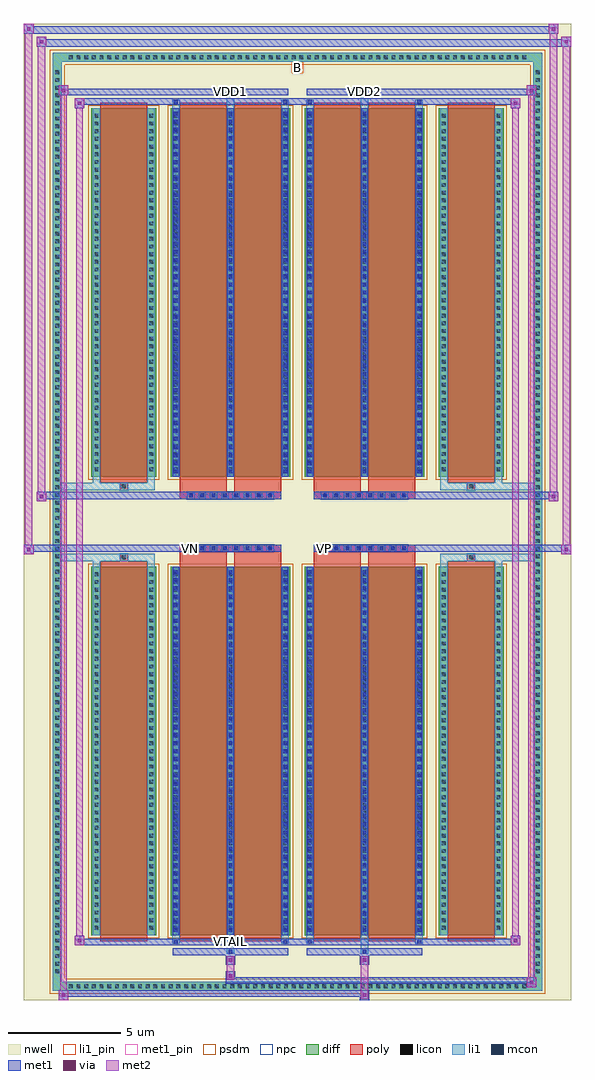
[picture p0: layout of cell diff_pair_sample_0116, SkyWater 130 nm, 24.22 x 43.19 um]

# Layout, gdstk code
import gdstk
lib = gdstk.Library(unit=1e-6, precision=5e-09)
def R(c, l, rs):  # rectangles x0, y0, x1, y1
    for r in rs: c.add(gdstk.rectangle(r[:2], r[2:], *l))
def A(c, l, x, y, w, h, nx, ny, dx, dy):  # array of equal rectangles
    R(c, l, [(x+i*dx, y+j*dy, x+i*dx+w, y+j*dy+h) for i in range(nx) for j in range(ny)])
def P(c, l, *ps):  # polygons
    for p in ps: c.add(gdstk.Polygon(p, *l))
nwell = (64, 20)
diff = (65, 20)
poly = (66, 20)
licon = (66, 44)
li1_pin = (67, 16)
li1 = (67, 20)
mcon = (67, 44)
met1_pin = (68, 16)
met1 = (68, 20)
via = (68, 44)
met2 = (69, 20)
psdm = (94, 20)
npc = (95, 20)

diff_pair_sample_0116 = lib.new_cell('diff_pair_sample_0116')
R(diff_pair_sample_0116, nwell, [(-12.11,-21.16,12.11,22.03), (-9.43,-19.35,-0.01,-0.805), (0.01,-19.35,9.43,-0.805), (-9.43,0.805,-0.01,19.35), (0.01,0.805,9.43,19.35)])
A(diff_pair_sample_0116, diff, -10.235, -20.76, 0.41, 0.41, 60, 2, 0.34, 41.11)
A(diff_pair_sample_0116, diff, -10.84, -20.095, 0.41, 0.41, 1, 118, 0, 0.34)
A(diff_pair_sample_0116, diff, 10.43, -20.095, 0.41, 0.41, 1, 118, 0, 0.34)
R(diff_pair_sample_0116, diff, [(-10.235,-20.76,10.235,-20.35), (-10.84,-20.095,-10.43,20.095), (10.43,-20.095,10.84,20.095), (-9.12,-18.305,-6.25,-1.985), (-5.61,-18.305,-0.32,-1.985), (0.32,-18.305,5.61,-1.985), (6.25,-18.305,9.12,-1.985), (-9.12,1.985,-6.25,18.305), (-5.61,1.985,-0.32,18.305), (0.32,1.985,5.61,18.305), (6.25,1.985,9.12,18.305), (-10.235,20.35,10.235,20.76)])
P(diff_pair_sample_0116, diff, [(10.84,20.76),(-10.84,20.76),(-10.84,-20.35),(-10.43,-20.35),(-10.43,20.35),(10.43,20.35),(10.43,-20.35),(-10.43,-20.35),(-10.84,-20.35),(-10.84,-20.76),(10.84,-20.76)])
A(diff_pair_sample_0116, poly, -4.88, -1.335, 0.33, 0.33, 8, 2, 0.5, 2.34)
A(diff_pair_sample_0116, poly, 1.05, -1.335, 0.33, 0.33, 8, 2, 0.5, 2.34)
R(diff_pair_sample_0116, poly, [(-8.73,-18.555,-6.64,-1.735), (-5.22,-18.555,-3.13,-1.735), (-2.8,-18.555,-0.71,-1.735), (0.71,-18.555,2.8,-1.735), (3.13,-18.555,5.22,-1.735), (6.64,-18.555,8.73,-1.735), (-7.85,-1.735,-7.52,-1.405), (-7.85,-1.735,-7.52,-1.405), (-5.22,-1.735,-3.13,-1.335), (-2.8,-1.735,-0.71,-1.335), (0.71,-1.735,2.8,-1.335), (3.13,-1.735,5.22,-1.335), (7.52,-1.735,7.85,-1.405), (7.52,-1.735,7.85,-1.405), (-5.22,-1.335,-0.71,-1.005), (0.71,-1.335,5.22,-1.005), (-5.22,1.005,-0.71,1.335), (0.71,1.005,5.22,1.335), (-5.22,1.335,-3.13,1.735), (-2.8,1.335,-0.71,1.735), (0.71,1.335,2.8,1.735), (3.13,1.335,5.22,1.735), (-7.85,1.405,-7.52,1.735), (-7.85,1.405,-7.52,1.735), (7.52,1.405,7.85,1.735), (7.52,1.405,7.85,1.735), (-8.73,1.735,-6.64,18.555), (-5.22,1.735,-3.13,18.555), (-2.8,1.735,-0.71,18.555), (0.71,1.735,2.8,18.555), (3.13,1.735,5.22,18.555), (6.64,1.735,8.73,18.555)])
A(diff_pair_sample_0116, licon, -10.115, -20.64, 0.17, 0.17, 60, 2, 0.34, 41.11)
A(diff_pair_sample_0116, licon, -10.72, -19.975, 0.17, 0.17, 1, 118, 0, 0.34)
A(diff_pair_sample_0116, licon, 10.55, -19.975, 0.17, 0.17, 1, 118, 0, 0.34)
A(diff_pair_sample_0116, licon, -8.98, -18.05, 0.17, 0.17, 1, 47, 0, 0.34)
A(diff_pair_sample_0116, licon, -6.56, -18.05, 0.17, 0.17, 1, 47, 0, 0.34)
A(diff_pair_sample_0116, licon, -5.47, -18.05, 0.17, 0.17, 3, 47, 2.42, 0.34)
A(diff_pair_sample_0116, licon, 0.46, -18.05, 0.17, 0.17, 3, 47, 2.42, 0.34)
A(diff_pair_sample_0116, licon, 6.39, -18.05, 0.17, 0.17, 1, 47, 0, 0.34)
A(diff_pair_sample_0116, licon, 8.81, -18.05, 0.17, 0.17, 1, 47, 0, 0.34)
A(diff_pair_sample_0116, licon, -4.8, -1.255, 0.17, 0.17, 8, 2, 0.5, 2.34)
A(diff_pair_sample_0116, licon, 1.13, -1.255, 0.17, 0.17, 8, 2, 0.5, 2.34)
A(diff_pair_sample_0116, licon, -8.98, 2.24, 0.17, 0.17, 1, 47, 0, 0.34)
A(diff_pair_sample_0116, licon, -6.56, 2.24, 0.17, 0.17, 1, 47, 0, 0.34)
A(diff_pair_sample_0116, licon, -5.47, 2.24, 0.17, 0.17, 3, 47, 2.42, 0.34)
A(diff_pair_sample_0116, licon, 0.46, 2.24, 0.17, 0.17, 3, 47, 2.42, 0.34)
A(diff_pair_sample_0116, licon, 6.39, 2.24, 0.17, 0.17, 1, 47, 0, 0.34)
A(diff_pair_sample_0116, licon, 8.81, 2.24, 0.17, 0.17, 1, 47, 0, 0.34)
R(diff_pair_sample_0116, licon, [(-7.77,-1.655,-7.6,-1.485), (7.6,-1.655,7.77,-1.485), (-7.77,1.485,-7.6,1.655), (7.6,1.485,7.77,1.655)])
R(diff_pair_sample_0116, li1_pin, [(-0.25,19.85,0.25,20.35)])
A(diff_pair_sample_0116, li1, -10.195, -20.72, 0.33, 0.33, 60, 2, 0.34, 41.11)
A(diff_pair_sample_0116, li1, -10.8, -20.055, 0.33, 0.33, 1, 118, 0, 0.34)
A(diff_pair_sample_0116, li1, 10.47, -20.055, 0.33, 0.33, 1, 118, 0, 0.34)
A(diff_pair_sample_0116, li1, -5.55, -18.305, 0.33, 16.32, 3, 2, 2.42, 20.29)
A(diff_pair_sample_0116, li1, 0.38, -18.305, 0.33, 16.32, 3, 2, 2.42, 20.29)
A(diff_pair_sample_0116, li1, -5.47, -18.15, 0.17, 0.17, 3, 45, 2.42, 0.36)
A(diff_pair_sample_0116, li1, -5.47, -18.15, 0.17, 16.01, 3, 2, 2.42, 20.29)
A(diff_pair_sample_0116, li1, 0.46, -18.15, 0.17, 0.17, 3, 45, 2.42, 0.36)
A(diff_pair_sample_0116, li1, 0.46, -18.15, 0.17, 16.01, 3, 2, 2.42, 20.29)
A(diff_pair_sample_0116, li1, -9.06, -18.13, 0.33, 0.33, 1, 47, 0, 0.34)
A(diff_pair_sample_0116, li1, -6.64, -18.13, 0.33, 0.33, 1, 47, 0, 0.34)
A(diff_pair_sample_0116, li1, -5.55, -18.13, 0.33, 0.33, 3, 47, 2.42, 0.34)
A(diff_pair_sample_0116, li1, 0.38, -18.13, 0.33, 0.33, 3, 47, 2.42, 0.34)
A(diff_pair_sample_0116, li1, 6.31, -18.13, 0.33, 0.33, 1, 47, 0, 0.34)
A(diff_pair_sample_0116, li1, 8.73, -18.13, 0.33, 0.33, 1, 47, 0, 0.34)
A(diff_pair_sample_0116, li1, -4.88, -1.335, 0.33, 0.33, 8, 2, 0.5, 2.34)
A(diff_pair_sample_0116, li1, 1.05, -1.335, 0.33, 0.33, 8, 2, 0.5, 2.34)
A(diff_pair_sample_0116, li1, -5.47, 2.14, 0.17, 0.17, 3, 45, 2.42, 0.36)
A(diff_pair_sample_0116, li1, 0.46, 2.14, 0.17, 0.17, 3, 45, 2.42, 0.36)
A(diff_pair_sample_0116, li1, -9.06, 2.16, 0.33, 0.33, 1, 47, 0, 0.34)
A(diff_pair_sample_0116, li1, -6.64, 2.16, 0.33, 0.33, 1, 47, 0, 0.34)
A(diff_pair_sample_0116, li1, -5.55, 2.16, 0.33, 0.33, 3, 47, 2.42, 0.34)
A(diff_pair_sample_0116, li1, 0.38, 2.16, 0.33, 0.33, 3, 47, 2.42, 0.34)
A(diff_pair_sample_0116, li1, 6.31, 2.16, 0.33, 0.33, 1, 47, 0, 0.34)
A(diff_pair_sample_0116, li1, 8.73, 2.16, 0.33, 0.33, 1, 47, 0, 0.34)
R(diff_pair_sample_0116, li1, [(-10.84,-20.76,-10.43,-20.35), (-10.84,-20.76,-10.43,-20.35), (-10.43,-20.76,10.43,-20.35), (10.43,-20.76,10.84,-20.35), (10.43,-20.76,10.84,-20.35), (-10.84,-20.35,-10.43,20.35), (10.43,-20.35,10.84,20.35), (-3.13,-19.11,-2.8,-18.305), (-3.05,-19.11,-2.88,-18.94), (2.8,-19.11,3.13,-18.305), (2.88,-19.11,3.05,-18.94), (-5.55,-18.68,-5.22,-18.305), (-5.47,-18.68,-5.3,-18.51), (-0.71,-18.68,-0.38,-18.305), (-0.63,-18.68,-0.46,-18.51), (0.38,-18.68,0.71,-18.305), (0.46,-18.68,0.63,-18.51), (5.22,-18.68,5.55,-18.305), (5.3,-18.68,5.47,-18.51), (-9.06,-18.305,-8.73,-1.985), (-6.64,-18.305,-6.31,-1.985), (6.31,-18.305,6.64,-1.985), (8.73,-18.305,9.06,-1.985), (-9.06,-1.985,-8.73,-1.405), (-6.64,-1.985,-6.31,-1.405), (6.31,-1.985,6.64,-1.405), (8.73,-1.985,9.06,-1.405), (-10.84,-1.735,-7.85,-1.405), (-9.06,-1.735,-7.85,-1.405), (-7.85,-1.735,-7.52,-1.405), (-7.52,-1.735,-6.31,-1.405), (6.31,-1.735,7.52,-1.405), (7.52,-1.735,7.85,-1.405), (7.52,-1.735,10.84,-1.405), (7.85,-1.735,9.06,-1.405), (-10.84,1.405,-7.85,1.735), (-9.06,1.405,-7.85,1.735), (-9.06,1.405,-8.73,1.985), (-7.85,1.405,-7.52,1.735), (-7.52,1.405,-6.31,1.735), (-6.64,1.405,-6.31,1.985), (6.31,1.405,7.52,1.735), (6.31,1.405,6.64,1.985), (7.52,1.405,7.85,1.735), (7.52,1.405,10.84,1.735), (7.85,1.405,9.06,1.735), (8.73,1.405,9.06,1.985), (-9.06,1.985,-8.73,18.305), (-6.64,1.985,-6.31,18.305), (6.31,1.985,6.64,18.305), (8.73,1.985,9.06,18.305), (-5.55,18.305,-5.22,18.68), (-3.13,18.305,-2.8,19.11), (-0.71,18.305,-0.38,18.68), (0.38,18.305,0.71,18.68), (2.8,18.305,3.13,19.11), (5.22,18.305,5.55,18.68), (-5.47,18.51,-5.3,18.68), (-0.63,18.51,-0.46,18.68), (0.46,18.51,0.63,18.68), (5.3,18.51,5.47,18.68), (-3.05,18.94,-2.88,19.11), (2.88,18.94,3.05,19.11), (-10.84,20.35,-10.43,20.76), (-10.84,20.35,-10.43,20.76), (-10.43,20.35,10.43,20.76), (10.43,20.35,10.84,20.76), (10.43,20.35,10.84,20.76)])
A(diff_pair_sample_0116, mcon, -5.47, -18.15, 0.17, 0.17, 3, 45, 2.42, 0.36)
A(diff_pair_sample_0116, mcon, 0.46, -18.15, 0.17, 0.17, 3, 45, 2.42, 0.36)
A(diff_pair_sample_0116, mcon, -4.8, -1.255, 0.17, 0.17, 8, 2, 0.5, 2.34)
A(diff_pair_sample_0116, mcon, 1.13, -1.255, 0.17, 0.17, 8, 2, 0.5, 2.34)
A(diff_pair_sample_0116, mcon, -5.47, 2.14, 0.17, 0.17, 3, 45, 2.42, 0.36)
A(diff_pair_sample_0116, mcon, 0.46, 2.14, 0.17, 0.17, 3, 45, 2.42, 0.36)
R(diff_pair_sample_0116, mcon, [(-3.05,-19.11,-2.88,-18.94), (2.88,-19.11,3.05,-18.94), (-5.47,-18.68,-5.3,-18.51), (-0.63,-18.68,-0.46,-18.51), (0.46,-18.68,0.63,-18.51), (5.3,-18.68,5.47,-18.51), (-5.47,18.51,-5.3,18.68), (-0.63,18.51,-0.46,18.68), (0.46,18.51,0.63,18.68), (5.3,18.51,5.47,18.68), (-3.05,18.94,-2.88,19.11), (2.88,18.94,3.05,19.11)])
R(diff_pair_sample_0116, met1_pin, [(-3.1,-18.72,-2.83,-18.45), (-4.85,-1.295,-4.58,-1.025), (1.08,-1.295,1.35,-1.025), (-3.1,18.9,-2.83,19.17), (2.83,18.9,3.1,19.17)])
A(diff_pair_sample_0116, met1, -5.53, -18.305, 0.29, 16.32, 3, 2, 2.42, 20.29)
A(diff_pair_sample_0116, met1, 0.4, -18.305, 0.29, 16.32, 3, 2, 2.42, 20.29)
A(diff_pair_sample_0116, met1, -5.53, -18.21, 0.29, 0.29, 3, 45, 2.42, 0.36)
A(diff_pair_sample_0116, met1, 0.4, -18.21, 0.29, 0.29, 3, 45, 2.42, 0.36)
A(diff_pair_sample_0116, met1, -4.86, -1.315, 0.29, 0.29, 8, 2, 0.5, 2.34)
A(diff_pair_sample_0116, met1, 1.07, -1.315, 0.29, 0.29, 8, 2, 0.5, 2.34)
A(diff_pair_sample_0116, met1, -5.53, 2.08, 0.29, 0.29, 3, 45, 2.42, 0.36)
A(diff_pair_sample_0116, met1, 0.4, 2.08, 0.29, 0.29, 3, 45, 2.42, 0.36)
R(diff_pair_sample_0116, met1, [(-10.57,-21.16,-10.14,-20.73), (2.75,-21.16,3.18,-20.73), (-10.57,-21.02,3.18,-20.73), (10.14,-20.59,10.57,-20.16), (-3.18,-20.45,10.57,-20.16), (-3.18,-20.31,-2.75,-19.88), (-3.18,-19.6,-2.75,-19.17), (2.75,-19.6,3.18,-19.17), (-5.53,-19.17,-0.4,-18.88), (-3.11,-19.17,-2.82,-18.88), (0.4,-19.17,5.53,-18.88), (2.82,-19.17,3.11,-18.88), (-9.86,-18.74,-9.43,-18.31), (-9.86,-18.74,-5.53,-18.45), (-5.53,-18.74,-5.24,-18.45), (-5.53,-18.74,-0.4,-18.45), (-0.69,-18.74,-0.4,-18.45), (-0.4,-18.74,0.4,-18.45), (0.4,-18.74,0.69,-18.45), (0.4,-18.74,5.53,-18.45), (5.24,-18.74,5.53,-18.45), (5.53,-18.74,9.86,-18.45), (9.43,-18.74,9.86,-18.31), (-12.11,-1.435,-11.68,-1.005), (11.68,-1.435,12.11,-1.005), (-12.11,-1.335,-0.71,-1.005), (-5.22,-1.335,-0.71,-1.005), (0.71,-1.335,5.22,-1.005), (0.71,-1.335,12.11,-1.005), (-11.54,0.905,-11.11,1.335), (11.11,0.905,11.54,1.335), (-11.54,1.005,-5.22,1.335), (-5.22,1.005,-0.71,1.335), (0.71,1.005,5.22,1.335), (5.22,1.005,11.54,1.335), (-9.86,18.31,-9.43,18.74), (9.43,18.31,9.86,18.74), (-9.86,18.45,-5.53,18.74), (-5.53,18.45,-5.24,18.74), (-5.53,18.45,-0.4,18.74), (-0.69,18.45,-0.4,18.74), (-0.4,18.45,0.4,18.74), (0.4,18.45,0.69,18.74), (0.4,18.45,5.53,18.74), (5.24,18.45,5.53,18.74), (5.53,18.45,9.86,18.74), (-10.57,18.88,-10.14,19.31), (-10.57,18.88,-5.53,19.17), (-5.53,18.88,-0.4,19.17), (-3.11,18.88,-2.82,19.17), (0.4,18.88,5.53,19.17), (2.82,18.88,3.11,19.17), (5.53,18.88,10.57,19.17), (10.14,18.88,10.57,19.31), (-11.54,21.03,-11.11,21.46), (-11.54,21.03,-9.43,21.36), (-9.43,21.03,9.43,21.36), (9.43,21.03,12.11,21.36), (11.68,21.03,12.11,21.46), (-12.11,21.6,-11.68,22.03), (-12.11,21.6,-9.43,21.93), (-9.43,21.6,9.43,21.93), (9.43,21.6,11.54,21.93), (11.11,21.6,11.54,22.03)])
R(diff_pair_sample_0116, via, [(-10.43,-21.02,-10.28,-20.87), (2.89,-21.02,3.04,-20.87), (10.28,-20.45,10.43,-20.3), (-3.04,-20.17,-2.89,-20.02), (-3.04,-19.46,-2.89,-19.31), (2.89,-19.46,3.04,-19.31), (-9.72,-18.6,-9.57,-18.45), (9.57,-18.6,9.72,-18.45), (-11.97,-1.295,-11.82,-1.145), (11.82,-1.295,11.97,-1.145), (-11.4,1.045,-11.25,1.195), (11.25,1.045,11.4,1.195), (-9.72,18.45,-9.57,18.6), (9.57,18.45,9.72,18.6), (-10.43,19.02,-10.28,19.17), (10.28,19.02,10.43,19.17), (-11.4,21.17,-11.25,21.32), (11.82,21.17,11.97,21.32), (-11.97,21.74,-11.82,21.89), (11.25,21.74,11.4,21.89)])
R(diff_pair_sample_0116, met2, [(-10.57,-21.16,-10.14,-20.73), (-10.5,-21.16,-10.21,19.31), (-10.21,-21.16,-10.14,-20.73), (-10.52,-21.11,-10.19,-20.78), (2.8,-21.11,3.13,-20.78), (2.8,-20.78,3.13,-19.55), (10.14,-20.59,10.57,-20.16), (10.21,-20.59,10.5,19.31), (10.5,-20.59,10.57,-20.16), (10.19,-20.54,10.52,-20.21), (-3.13,-20.26,-2.8,-19.93), (-3.13,-19.93,-2.8,-19.55), (-3.13,-19.55,-2.8,-19.22), (2.8,-19.55,3.13,-19.22), (-9.86,-18.74,-9.43,-18.31), (-9.79,-18.74,-9.5,18.74), (-9.5,-18.74,-9.43,-18.31), (9.43,-18.74,9.86,-18.31), (9.5,-18.74,9.79,18.74), (9.79,-18.74,9.86,-18.31), (-9.81,-18.69,-9.48,-18.36), (9.48,-18.69,9.81,-18.36), (-12.11,-1.435,-11.68,-1.005), (-12.06,-1.435,-11.73,22.03), (-11.73,-1.435,-11.68,-1.005), (11.68,-1.435,12.11,-1.005), (11.73,-1.435,12.06,21.46), (12.06,-1.435,12.11,-1.005), (-12.06,-1.385,-11.73,-1.055), (11.73,-1.385,12.06,-1.055), (-11.54,0.905,-11.11,1.335), (-11.49,0.905,-11.16,21.46), (-11.16,0.905,-11.11,1.335), (11.11,0.905,11.54,1.335), (11.16,0.905,11.49,22.03), (11.49,0.905,11.54,1.335), (-11.49,0.955,-11.16,1.285), (11.16,0.955,11.49,1.285), (-9.86,18.31,-9.43,18.74), (-9.5,18.31,-9.43,18.74), (9.43,18.31,9.86,18.74), (9.79,18.31,9.86,18.74), (-9.81,18.36,-9.48,18.69), (9.48,18.36,9.81,18.69), (-10.57,18.88,-10.14,19.31), (-10.21,18.88,-10.14,19.31), (10.14,18.88,10.57,19.31), (10.5,18.88,10.57,19.31), (-10.52,18.93,-10.19,19.26), (10.19,18.93,10.52,19.26), (-11.54,21.03,-11.11,21.46), (-11.16,21.03,-11.11,21.46), (11.68,21.03,12.11,21.46), (12.06,21.03,12.11,21.46), (-11.49,21.08,-11.16,21.41), (11.73,21.08,12.06,21.41), (-12.11,21.6,-11.68,22.03), (-11.73,21.6,-11.68,22.03), (11.11,21.6,11.54,22.03), (11.49,21.6,11.54,22.03), (-12.06,21.65,-11.73,21.98), (11.16,21.65,11.49,21.98)])
R(diff_pair_sample_0116, psdm, [(-9.25,-18.435,-6.12,-1.855), (-5.74,-18.435,-0.19,-1.855), (0.19,-18.435,5.74,-1.855), (6.12,-18.435,9.25,-1.855), (-9.25,1.855,-6.12,18.435), (-5.74,1.855,-0.19,18.435), (0.19,1.855,5.74,18.435), (6.12,1.855,9.25,18.435)])
P(diff_pair_sample_0116, psdm, [(10.97,20.89),(-10.97,20.89),(-10.97,-20.22),(-10.3,-20.22),(-10.3,20.22),(10.3,20.22),(10.3,-20.22),(-10.3,-20.22),(-10.97,-20.22),(-10.97,-20.89),(10.97,-20.89)])
A(diff_pair_sample_0116, npc, -4.9, -1.355, 0.37, 0.37, 8, 2, 0.5, 2.34)
A(diff_pair_sample_0116, npc, 1.03, -1.355, 0.37, 0.37, 8, 2, 0.5, 2.34)
R(diff_pair_sample_0116, npc, [(-7.87,-1.755,-7.5,-1.385), (7.5,-1.755,7.87,-1.385), (-4.9,-1.355,-4.03,-0.985), (-4.9,-1.355,-4.03,-0.985), (-4.4,-1.355,-3.53,-0.985), (-4.4,-1.355,-3.53,-0.985), (-3.9,-1.355,-3.03,-0.985), (-3.9,-1.355,-3.03,-0.985), (-3.4,-1.355,-2.53,-0.985), (-3.4,-1.355,-2.53,-0.985), (-2.9,-1.355,-2.03,-0.985), (-2.9,-1.355,-2.03,-0.985), (-2.4,-1.355,-1.53,-0.985), (-2.4,-1.355,-1.53,-0.985), (-1.9,-1.355,-1.03,-0.985), (-1.9,-1.355,-1.03,-0.985), (1.03,-1.355,1.9,-0.985), (1.03,-1.355,1.9,-0.985), (1.53,-1.355,2.4,-0.985), (1.53,-1.355,2.4,-0.985), (2.03,-1.355,2.9,-0.985), (2.03,-1.355,2.9,-0.985), (2.53,-1.355,3.4,-0.985), (2.53,-1.355,3.4,-0.985), (3.03,-1.355,3.9,-0.985), (3.03,-1.355,3.9,-0.985), (3.53,-1.355,4.4,-0.985), (3.53,-1.355,4.4,-0.985), (4.03,-1.355,4.9,-0.985), (4.03,-1.355,4.9,-0.985), (-4.9,0.985,-4.03,1.355), (-4.9,0.985,-4.03,1.355), (-4.4,0.985,-3.53,1.355), (-4.4,0.985,-3.53,1.355), (-3.9,0.985,-3.03,1.355), (-3.9,0.985,-3.03,1.355), (-3.4,0.985,-2.53,1.355), (-3.4,0.985,-2.53,1.355), (-2.9,0.985,-2.03,1.355), (-2.9,0.985,-2.03,1.355), (-2.4,0.985,-1.53,1.355), (-2.4,0.985,-1.53,1.355), (-1.9,0.985,-1.03,1.355), (-1.9,0.985,-1.03,1.355), (1.03,0.985,1.9,1.355), (1.03,0.985,1.9,1.355), (1.53,0.985,2.4,1.355), (1.53,0.985,2.4,1.355), (2.03,0.985,2.9,1.355), (2.03,0.985,2.9,1.355), (2.53,0.985,3.4,1.355), (2.53,0.985,3.4,1.355), (3.03,0.985,3.9,1.355), (3.03,0.985,3.9,1.355), (3.53,0.985,4.4,1.355), (3.53,0.985,4.4,1.355), (4.03,0.985,4.9,1.355), (4.03,0.985,4.9,1.355), (-7.87,1.385,-7.5,1.755), (7.5,1.385,7.87,1.755)])
diff_pair_sample_0116.add(gdstk.Label('VTAIL', (-2.965,-18.585), layer=68, texttype=5))
diff_pair_sample_0116.add(gdstk.Label('VN', (-4.715,-1.16), layer=68, texttype=5))
diff_pair_sample_0116.add(gdstk.Label('VP', (1.215,-1.16), layer=68, texttype=5))
diff_pair_sample_0116.add(gdstk.Label('B', (0,20.1), layer=67, texttype=5))
diff_pair_sample_0116.add(gdstk.Label('VDD2', (2.965,19.035), layer=68, texttype=5))
diff_pair_sample_0116.add(gdstk.Label('VDD1', (-2.965,19.035), layer=68, texttype=5))

lib.write_gds('diff_pair_sample_0116.gds')
